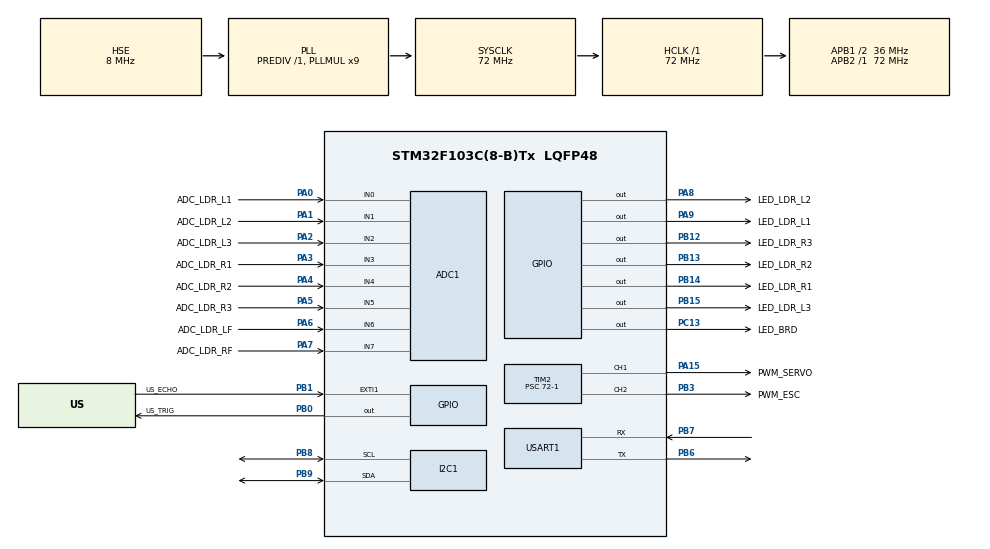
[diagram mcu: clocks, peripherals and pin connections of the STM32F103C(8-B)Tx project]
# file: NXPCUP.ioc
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ADC1.Channel-0\#ChannelRegularConversion=ADC_CHANNEL_0
ADC1.Channel-1\#ChannelRegularConversion=ADC_CHANNEL_1
ADC1.Channel-2\#ChannelRegularConversion=ADC_CHANNEL_2
ADC1.Channel-3\#ChannelRegularConversion=ADC_CHANNEL_3
ADC1.Channel-4\#ChannelRegularConversion=ADC_CHANNEL_4
ADC1.Channel-5\#ChannelRegularConversion=ADC_CHANNEL_5
ADC1.Channel-6\#ChannelRegularConversion=ADC_CHANNEL_6
ADC1.Channel-7\#ChannelRegularConversion=ADC_CHANNEL_7
ADC1.ContinuousConvMode=DISABLE
ADC1.NbrOfConversion=8
ADC1.NbrOfConversionFlag=1
ADC1.Rank-0\#ChannelRegularConversion=1
ADC1.Rank-1\#ChannelRegularConversion=2
ADC1.Rank-2\#ChannelRegularConversion=3
ADC1.Rank-3\#ChannelRegularConversion=4
ADC1.Rank-4\#ChannelRegularConversion=5
ADC1.Rank-5\#ChannelRegularConversion=6
ADC1.Rank-6\#ChannelRegularConversion=7
ADC1.Rank-7\#ChannelRegularConversion=8
ADC1.SamplingTime-0\#ChannelRegularConversion=ADC_SAMPLETIME_239CYCLES_5
ADC1.SamplingTime-1\#ChannelRegularConversion=ADC_SAMPLETIME_239CYCLES_5
ADC1.SamplingTime-2\#ChannelRegularConversion=ADC_SAMPLETIME_239CYCLES_5
ADC1.SamplingTime-3\#ChannelRegularConversion=ADC_SAMPLETIME_239CYCLES_5
ADC1.SamplingTime-4\#ChannelRegularConversion=ADC_SAMPLETIME_239CYCLES_5
ADC1.SamplingTime-5\#ChannelRegularConversion=ADC_SAMPLETIME_239CYCLES_5
ADC1.SamplingTime-6\#ChannelRegularConversion=ADC_SAMPLETIME_239CYCLES_5
ADC1.SamplingTime-7\#ChannelRegularConversion=ADC_SAMPLETIME_239CYCLES_5
ADC1.master=1
Dma.ADC1.0.Direction=DMA_PERIPH_TO_MEMORY
Dma.ADC1.0.Instance=DMA1_Channel1
Dma.ADC1.0.MemDataAlignment=DMA_MDATAALIGN_WORD
Dma.ADC1.0.MemInc=DMA_MINC_ENABLE
Dma.ADC1.0.Mode=DMA_NORMAL
Dma.ADC1.0.PeriphDataAlignment=DMA_PDATAALIGN_WORD
Dma.ADC1.0.PeriphInc=DMA_PINC_DISABLE
Dma.ADC1.0.Priority=DMA_PRIORITY_LOW
Dma.Request0=ADC1
Mcu.Family=STM32F1
Mcu.Name=STM32F103C(8-B)Tx
Mcu.Package=LQFP48
NVIC.ADC1_2_IRQn=true\:0\:0\:false\:false\:true\:true\:true\:true
NVIC.DMA1_Channel1_IRQn=true\:0\:0\:false\:false\:true\:false\:true\:true
NVIC.EXTI1_IRQn=true\:0\:0\:false\:false\:true\:true\:true\:true
NVIC.PriorityGroup=NVIC_PRIORITYGROUP_4
NVIC.TIM1_UP_IRQn=true\:0\:0\:false\:false\:true\:true\:true\:true
NVIC.TIM4_IRQn=true\:0\:0\:false\:false\:true\:true\:true\:true
PA0-WKUP.GPIO_Label=ADC_LDR_L1
PA0-WKUP.Signal=ADCx_IN0
PA1.GPIO_Label=ADC_LDR_L2
PA1.Signal=ADCx_IN1
PA13.Mode=Serial_Wire
PA13.Signal=SYS_JTMS-SWDIO
PA14.Mode=Serial_Wire
PA14.Signal=SYS_JTCK-SWCLK
PA15.GPIO_Label=PWM_SERVO
PA15.Signal=S_TIM2_CH1_ETR
PA2.GPIO_Label=ADC_LDR_L3
PA2.Signal=ADCx_IN2
PA3.GPIO_Label=ADC_LDR_R1
PA3.Signal=ADCx_IN3
PA4.GPIO_Label=ADC_LDR_R2
PA4.Signal=ADCx_IN4
PA5.GPIO_Label=ADC_LDR_R3
PA5.Signal=ADCx_IN5
PA6.GPIO_Label=ADC_LDR_LF
PA6.Signal=ADCx_IN6
PA7.GPIO_Label=ADC_LDR_RF
PA7.Signal=ADCx_IN7
PA8.GPIO_Label=LED_LDR_L2
PA8.Signal=GPIO_Output
PA9.GPIO_Label=LED_LDR_L1
PA9.Signal=GPIO_Output
PB0.GPIO_Label=US_TRIG
PB0.Signal=GPIO_Output
PB1.GPIO_Label=US_ECHO
PB1.GPIO_ModeDefaultEXTI=GPIO_MODE_IT_RISING_FALLING
PB1.Signal=GPXTI1
PB12.GPIO_Label=LED_LDR_R3
PB12.Signal=GPIO_Output
PB13.GPIO_Label=LED_LDR_R2
PB13.Signal=GPIO_Output
PB14.GPIO_Label=LED_LDR_R1
PB14.Signal=GPIO_Output
PB15.GPIO_Label=LED_LDR_L3
PB15.Signal=GPIO_Output
PB3.GPIO_Label=PWM_ESC
PB3.Signal=S_TIM2_CH2
PB6.Mode=Asynchronous
PB6.Signal=USART1_TX
PB7.Mode=Asynchronous
PB7.Signal=USART1_RX
PB8.Mode=I2C
PB8.Signal=I2C1_SCL
PB9.Mode=I2C
PB9.Signal=I2C1_SDA
PC13-TAMPER-RTC.GPIO_Label=LED_BRD
PC13-TAMPER-RTC.Signal=GPIO_Output
PD0-OSC_IN.Mode=HSE-External-Oscillator
PD0-OSC_IN.Signal=RCC_OSC_IN
PD1-OSC_OUT.Mode=HSE-External-Oscillator
PD1-OSC_OUT.Signal=RCC_OSC_OUT
ProjectManager.HeapSize=0x200
ProjectManager.StackSize=0x400
ProjectManager.TargetToolchain=STM32CubeIDE
RCC.ADCPresc=RCC_ADCPCLK2_DIV6
RCC.AHBFreq_Value=72000000
RCC.APB1CLKDivider=RCC_HCLK_DIV2
RCC.APB1Freq_Value=36000000
RCC.APB1TimFreq_Value=72000000
RCC.APB2Freq_Value=72000000
RCC.APB2TimFreq_Value=72000000
RCC.HCLKFreq_Value=72000000
RCC.PLLMUL=RCC_PLL_MUL9
RCC.PLLSourceVirtual=RCC_PLLSOURCE_HSE
RCC.SYSCLKFreq_VALUE=72000000
RCC.SYSCLKSource=RCC_SYSCLKSOURCE_PLLCLK
RCC.USBFreq_Value=72000000
SH.ADCx_IN0.0=ADC1_IN0,IN0
SH.ADCx_IN1.0=ADC1_IN1,IN1
SH.ADCx_IN2.0=ADC1_IN2,IN2
SH.ADCx_IN3.0=ADC1_IN3,IN3
SH.ADCx_IN4.0=ADC1_IN4,IN4
SH.ADCx_IN5.0=ADC1_IN5,IN5
SH.ADCx_IN6.0=ADC1_IN6,IN6
SH.ADCx_IN7.0=ADC1_IN7,IN7
SH.S_TIM2_CH1_ETR.0=TIM2_CH1,PWM Generation1 CH1
SH.S_TIM2_CH2.0=TIM2_CH2,PWM Generation2 CH2
TIM1.Period=100-1
TIM1.Prescaler=720-1
TIM2.Channel-PWM\ Generation1\ CH1=TIM_CHANNEL_1
TIM2.Channel-PWM\ Generation2\ CH2=TIM_CHANNEL_2
TIM2.Period=20000-1
TIM2.Prescaler=72-1
TIM3.Period=50000-1
TIM3.Prescaler=72-1
TIM4.Period=10-1
TIM4.Prescaler=72-1
USART1.VirtualMode=VM_ASYNC
VP_TIM1_VS_ClockSourceINT.Mode=Internal
VP_TIM2_VS_ClockSourceINT.Mode=Internal
VP_TIM3_VS_ClockSourceINT.Mode=Internal
VP_TIM4_VS_ClockSourceINT.Mode=Internal
board=custom

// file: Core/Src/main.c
/* USER CODE BEGIN Header */
/**
  ******************************************************************************
  * @file           : main.c
  * @brief          : Main program body
  ******************************************************************************
  * @attention
  *
  * Copyright (c) 2023 STMicroelectronics.
  * All rights reserved.
  *
  * This software is licensed under terms that can be found in the LICENSE file
  * in the root directory of this software component.
  * If no LICENSE file comes with this software, it is provided AS-IS.
  *
  ******************************************************************************
  */
/* USER CODE END Header */
#include "main.h"

/* USER CODE BEGIN Includes */
#include "stm32_utils.h"
#include "control.h"
#include "mathops.h"
/* USER CODE END Includes */

/* USER CODE BEGIN PD */
/*
 * CHANGE THESE VALUES FOR CONTROL OVER CARS OPERATION
 */
#define DISTANCE_SETPOINT 110	//distance car will stop infront of object in mm.
#define DISTANCE_RANGE 800 		//distance car will detect object in mm and initiate distance based speed control.
#define STEERING_SETPOINT -250	//alignment on track in arbitrary units, don't change if not needed. (+=left, -=right, 0=centre)
#define MAX_SPEED 150			//max speed on straight.
#define MIN_SPEED 100			//slower speed on turns.
#define HARSH_STEER 60
/*
 * PID GAINS - CHANGE IS NOT RECOMMENDED
 */
//DISTANCE SENSOR PID GAINS
#define P_GAIN_DISTANCE	3000
#define I_GAIN_DISTANCE	5
#define D_GAIN_DISTANCE	3000

//STEERING CONTROL PID GAINS
#define P_GAIN_STEERING	400
#define I_GAIN_STEERING	0
#define D_GAIN_STEERING	2800
/* USER CODE END PD */

ADC_HandleTypeDef hadc1;
DMA_HandleTypeDef hdma_adc1;

I2C_HandleTypeDef hi2c1;

TIM_HandleTypeDef htim1;
TIM_HandleTypeDef htim2;
TIM_HandleTypeDef htim3;
TIM_HandleTypeDef htim4;

UART_HandleTypeDef huart1;

/* USER CODE BEGIN PV */
uint32_t LDR_read[N_LDR_NODES];
PID_Handle hpid_distance;
PID_Handle hpid_steer;
uint8_t distance_override = False;
uint8_t ADC_Pause = False;
uint8_t done = False;
/* USER CODE END PV */

void SystemClock_Config(void);
static void MX_GPIO_Init(void);
static void MX_DMA_Init(void);
static void MX_ADC1_Init(void);
static void MX_TIM1_Init(void);
static void MX_TIM2_Init(void);
static void MX_TIM3_Init(void);
static void MX_TIM4_Init(void);
static void MX_I2C1_Init(void);
static void MX_USART1_UART_Init(void);

/* USER CODE BEGIN 0 */
void TaskScheduleHandler(){
SCHEDULE_HANDLE(SCH_CALIBRATION_CPLT)
	ScheduleTaskStop(SCH_LED_TOGGLE);
	ScheduleTask(SCH_LDR_CHECK, 20, True, 0);
}
SCHEDULE_HANDLE(SCH_LED_TOGGLE)
	HAL_GPIO_TogglePin(LED_BRD_GPIO_Port, LED_BRD_Pin);
}
SCHEDULE_HANDLE(SCH_LEDTOP)
	HAL_GPIO_WritePin(LED_LDR_L3_GPIO_Port, LED_LDR_L3_Pin, GPIO_PIN_SET);
	HAL_GPIO_WritePin(LED_LDR_R3_GPIO_Port, LED_LDR_R3_Pin, GPIO_PIN_SET);
	ScheduleTask(SCH_LEDMID, 200, 0, 0);
}
SCHEDULE_HANDLE(SCH_LEDMID)
	HAL_GPIO_WritePin(LED_LDR_L2_GPIO_Port, LED_LDR_L2_Pin, GPIO_PIN_SET);
	HAL_GPIO_WritePin(LED_LDR_R2_GPIO_Port, LED_LDR_R2_Pin, GPIO_PIN_SET);
	HAL_GPIO_WritePin(LED_LDR_L3_GPIO_Port, LED_LDR_L3_Pin, GPIO_PIN_RESET);
	HAL_GPIO_WritePin(LED_LDR_R3_GPIO_Port, LED_LDR_R3_Pin, GPIO_PIN_RESET);
	ScheduleTask(SCH_LEDBOT, 200, 0, 0);
}
SCHEDULE_HANDLE(SCH_LEDBOT)
	HAL_GPIO_WritePin(LED_LDR_L1_GPIO_Port, LED_LDR_L1_Pin, GPIO_PIN_SET);
	HAL_GPIO_WritePin(LED_LDR_R1_GPIO_Port, LED_LDR_R1_Pin, GPIO_PIN_SET);
	HAL_GPIO_WritePin(LED_LDR_L2_GPIO_Port, LED_LDR_L2_Pin, GPIO_PIN_RESET);
	HAL_GPIO_WritePin(LED_LDR_R2_GPIO_Port, LED_LDR_R2_Pin, GPIO_PIN_RESET);
	ScheduleTask(SCH_LEDOFF, 200, 0, 0);
}
SCHEDULE_HANDLE(SCH_LEDOFF)
	HAL_GPIO_WritePin(LED_LDR_L1_GPIO_Port, LED_LDR_L1_Pin, GPIO_PIN_RESET);
	HAL_GPIO_WritePin(LED_LDR_R1_GPIO_Port, LED_LDR_R1_Pin, GPIO_PIN_RESET);
}
SCHEDULE_HANDLE(SCH_LDR_CHECK)
	ADC_Pause = True;

//===STEERING CONTROL===
	int32_t left = (LDR_nodes[2].hrave.average);	//Left LDR adc reading, black is higher value.
	int32_t right = (LDR_nodes[5].hrave.average);	//Right LDR adc reading.
	int32_t position = (left-right);	//Difference between sides, 0 means even light so centre. <0 means right is darker. >0 meaning left is darker.
	int32_t pid = clamp(PID_Compute(&hpid_steer, position), -500, 500);	//Process position in PID controller. Clamped to min and max pwm values.
	MotorControls.steer = 500+pid;	//Set steering variable to mid point (500) + response from
	SetSteer(MotorControls.steer);
//======================

//===SPEED CONTROL===
	int32_t previous_speed = MotorControls.speed;	//Keep track of previous speed for later...
	MotorControls.speed = 500 + MAX_SPEED;			//Set new speed.
	if(distance_override==False){					//If no object in front...
		if(MotorControls.steer>(500+HARSH_STEER) || MotorControls.steer<(500-HARSH_STEER)){	//If steering harshly...
		  MotorControls.speed = clamp(MotorControls.speed, 0, 500+MIN_SPEED);	//Clamp speed to minimum.
		}else{													//Else steering softly...
		  MotorControls.speed = clamp(MotorControls.speed, 0, 1000);	//Clamp speed to absolute pwm maximum. Will never go above Max speed anyway.
		}

		/*
		 * If there is a change in direction, the ESC must pause briefly at 1.5ms pwm pule width before it will act on applying force
		 * in the other diretion or it will become unresponsive. The following code checks to see if there is a change in direction
		 * and if so, sets the speed to 1.5ms pwm pulse width and sets the desired speed after a delay of 5ms.
		 */
		if((previous_speed<500 && MotorControls.speed>500) || (previous_speed>500 && MotorControls.speed<500)){
		  SetSpeed(500);
		  ScheduleTask(SCH_SETSPEED, 5, False, 0);
		}else{
		  ScheduleTask(SCH_SETSPEED, 0, False, 0);
		}
	}
//===================

	//Reset all LDR averaging counts.
	for(int i = 0;i<N_LDR_NODES;i++){
		RUNTIME_AVERAGE_Reset(&LDR_nodes[i].hrave);
	}

	//Begin LDR readings again.
	ADC_Pause = False;
	HAL_ADC_Start_DMA(&hadc1,LDR_read,N_LDR_NODES);
}
SCHEDULE_HANDLE(SCH_SETSPEED)
	SetSpeed(MotorControls.speed);
}

SCHEDULE_HANDLE(SCH_PULSE)
HAL_GPIO_WritePin(US_TRIG_GPIO_Port, US_TRIG_Pin, GPIO_PIN_SET);
HAL_TIM_Base_Start_IT(&htim4);
}
}
/* USER CODE END 0 */

int main(void)
{

  /* MCU Configuration--------------------------------------------------------*/

  /* Reset of all peripherals, Initializes the Flash interface and the Systick. */
  HAL_Init();

  /* Configure the system clock */
  SystemClock_Config();

  /* Initialize all configured peripherals */
  MX_GPIO_Init();
  MX_DMA_Init();
  MX_ADC1_Init();
  MX_TIM1_Init();
  MX_TIM2_Init();
  MX_TIM3_Init();
  MX_TIM4_Init();
  MX_I2C1_Init();
  MX_USART1_UART_Init();
  /* USER CODE BEGIN 2 */
  HAL_TIM_Base_Start_IT(&SOFTCLK_TIMER_TYPE);
  HAL_TIM_PWM_Start(&htim2,TIM_CHANNEL_1);
  HAL_TIM_PWM_Start(&htim2,TIM_CHANNEL_2);

  ScheduleTask(SCH_LED_TOGGLE, 50, True, 0);
  ScheduleTask(SCH_CALIBRATION_CPLT, 1000, True, 0);

  PID_SetGain(&hpid_distance, P_GAIN_DISTANCE, I_GAIN_DISTANCE, D_GAIN_DISTANCE);
  PID_UpdateSetpoint(&hpid_distance, DISTANCE_SETPOINT);

  PID_SetGain(&hpid_steer, P_GAIN_STEERING, I_GAIN_STEERING, D_GAIN_STEERING);
  PID_UpdateSetpoint(&hpid_steer,STEERING_SETPOINT);

  SetSteer(500);	//>500 left, <500 right.
  SetSpeed(500);	//>500 forward, <500 reverse.

  HAL_Delay(3000);

  ScheduleTask(SCH_PULSE, 40, True, 0);	//Schedule recurring ultrasonic pulse every 40ms.
  HAL_ADC_Start_DMA(&hadc1,LDR_read,N_LDR_NODES);

  /* USER CODE END 2 */

  /* Infinite loop */
  while (1)
  {

    /* USER CODE BEGIN 3 */
	  TaskScheduleSoftClock();
	  TaskScheduleHandler();
  }
  /* USER CODE END 3 */
}

void SystemClock_Config(void)
{
  RCC_OscInitTypeDef RCC_OscInitStruct = {0};
  RCC_ClkInitTypeDef RCC_ClkInitStruct = {0};
  RCC_PeriphCLKInitTypeDef PeriphClkInit = {0};

  /** Initializes the RCC Oscillators according to the specified parameters
  * in the RCC_OscInitTypeDef structure.
  */
  RCC_OscInitStruct.OscillatorType = RCC_OSCILLATORTYPE_HSE;
  RCC_OscInitStruct.HSEState = RCC_HSE_ON;
  RCC_OscInitStruct.HSEPredivValue = RCC_HSE_PREDIV_DIV1;
  RCC_OscInitStruct.HSIState = RCC_HSI_ON;
  RCC_OscInitStruct.PLL.PLLState = RCC_PLL_ON;
  RCC_OscInitStruct.PLL.PLLSource = RCC_PLLSOURCE_HSE;
  RCC_OscInitStruct.PLL.PLLMUL = RCC_PLL_MUL9;
  if (HAL_RCC_OscConfig(&RCC_OscInitStruct) != HAL_OK)
  {
    Error_Handler();
  }

  /** Initializes the CPU, AHB and APB buses clocks
  */
  RCC_ClkInitStruct.ClockType = RCC_CLOCKTYPE_HCLK|RCC_CLOCKTYPE_SYSCLK
                              |RCC_CLOCKTYPE_PCLK1|RCC_CLOCKTYPE_PCLK2;
  RCC_ClkInitStruct.SYSCLKSource = RCC_SYSCLKSOURCE_PLLCLK;
  RCC_ClkInitStruct.AHBCLKDivider = RCC_SYSCLK_DIV1;
  RCC_ClkInitStruct.APB1CLKDivider = RCC_HCLK_DIV2;
  RCC_ClkInitStruct.APB2CLKDivider = RCC_HCLK_DIV1;

  if (HAL_RCC_ClockConfig(&RCC_ClkInitStruct, FLASH_LATENCY_2) != HAL_OK)
  {
    Error_Handler();
  }
  PeriphClkInit.PeriphClockSelection = RCC_PERIPHCLK_ADC;
  PeriphClkInit.AdcClockSelection = RCC_ADCPCLK2_DIV6;
  if (HAL_RCCEx_PeriphCLKConfig(&PeriphClkInit) != HAL_OK)
  {
    Error_Handler();
  }
}

static void MX_ADC1_Init(void)
{

  ADC_ChannelConfTypeDef sConfig = {0};

  /** Common config
  */
  hadc1.Instance = ADC1;
  hadc1.Init.ScanConvMode = ADC_SCAN_ENABLE;
  hadc1.Init.ContinuousConvMode = DISABLE;
  hadc1.Init.DiscontinuousConvMode = DISABLE;
  hadc1.Init.ExternalTrigConv = ADC_SOFTWARE_START;
  hadc1.Init.DataAlign = ADC_DATAALIGN_RIGHT;
  hadc1.Init.NbrOfConversion = 8;
  if (HAL_ADC_Init(&hadc1) != HAL_OK)
  {
    Error_Handler();
  }

  /** Configure Regular Channel
  */
  sConfig.Channel = ADC_CHANNEL_0;
  sConfig.Rank = ADC_REGULAR_RANK_1;
  sConfig.SamplingTime = ADC_SAMPLETIME_239CYCLES_5;
  if (HAL_ADC_ConfigChannel(&hadc1, &sConfig) != HAL_OK)
  {
    Error_Handler();
  }

  /** Configure Regular Channel
  */
  sConfig.Channel = ADC_CHANNEL_1;
  sConfig.Rank = ADC_REGULAR_RANK_2;
  if (HAL_ADC_ConfigChannel(&hadc1, &sConfig) != HAL_OK)
  {
    Error_Handler();
  }

  /** Configure Regular Channel
  */
  sConfig.Channel = ADC_CHANNEL_2;
  sConfig.Rank = ADC_REGULAR_RANK_3;
  if (HAL_ADC_ConfigChannel(&hadc1, &sConfig) != HAL_OK)
  {
    Error_Handler();
  }

  /** Configure Regular Channel
  */
  sConfig.Channel = ADC_CHANNEL_3;
  sConfig.Rank = ADC_REGULAR_RANK_4;
  if (HAL_ADC_ConfigChannel(&hadc1, &sConfig) != HAL_OK)
  {
    Error_Handler();
  }

  /** Configure Regular Channel
  */
  sConfig.Channel = ADC_CHANNEL_4;
  sConfig.Rank = ADC_REGULAR_RANK_5;
  if (HAL_ADC_ConfigChannel(&hadc1, &sConfig) != HAL_OK)
  {
    Error_Handler();
  }

  /** Configure Regular Channel
  */
  sConfig.Channel = ADC_CHANNEL_5;
  sConfig.Rank = ADC_REGULAR_RANK_6;
  if (HAL_ADC_ConfigChannel(&hadc1, &sConfig) != HAL_OK)
  {
    Error_Handler();
  }

  /** Configure Regular Channel
  */
  sConfig.Channel = ADC_CHANNEL_6;
  sConfig.Rank = ADC_REGULAR_RANK_7;
  if (HAL_ADC_ConfigChannel(&hadc1, &sConfig) != HAL_OK)
  {
    Error_Handler();
  }

  /** Configure Regular Channel
  */
  sConfig.Channel = ADC_CHANNEL_7;
  sConfig.Rank = ADC_REGULAR_RANK_8;
  if (HAL_ADC_ConfigChannel(&hadc1, &sConfig) != HAL_OK)
  {
    Error_Handler();
  }

}

static void MX_I2C1_Init(void)
{

  hi2c1.Instance = I2C1;
  hi2c1.Init.ClockSpeed = 100000;
  hi2c1.Init.DutyCycle = I2C_DUTYCYCLE_2;
  hi2c1.Init.OwnAddress1 = 0;
  hi2c1.Init.AddressingMode = I2C_ADDRESSINGMODE_7BIT;
  hi2c1.Init.DualAddressMode = I2C_DUALADDRESS_DISABLE;
  hi2c1.Init.OwnAddress2 = 0;
  hi2c1.Init.GeneralCallMode = I2C_GENERALCALL_DISABLE;
  hi2c1.Init.NoStretchMode = I2C_NOSTRETCH_DISABLE;
  if (HAL_I2C_Init(&hi2c1) != HAL_OK)
  {
    Error_Handler();
  }

}

static void MX_TIM1_Init(void)
{

  TIM_ClockConfigTypeDef sClockSourceConfig = {0};
  TIM_MasterConfigTypeDef sMasterConfig = {0};

  htim1.Instance = TIM1;
  htim1.Init.Prescaler = 720-1;
  htim1.Init.CounterMode = TIM_COUNTERMODE_UP;
  htim1.Init.Period = 100-1;
  htim1.Init.ClockDivision = TIM_CLOCKDIVISION_DIV1;
  htim1.Init.RepetitionCounter = 0;
  htim1.Init.AutoReloadPreload = TIM_AUTORELOAD_PRELOAD_DISABLE;
  if (HAL_TIM_Base_Init(&htim1) != HAL_OK)
  {
    Error_Handler();
  }
  sClockSourceConfig.ClockSource = TIM_CLOCKSOURCE_INTERNAL;
  if (HAL_TIM_ConfigClockSource(&htim1, &sClockSourceConfig) != HAL_OK)
  {
    Error_Handler();
  }
  sMasterConfig.MasterOutputTrigger = TIM_TRGO_RESET;
  sMasterConfig.MasterSlaveMode = TIM_MASTERSLAVEMODE_DISABLE;
  if (HAL_TIMEx_MasterConfigSynchronization(&htim1, &sMasterConfig) != HAL_OK)
  {
    Error_Handler();
  }

}

static void MX_TIM2_Init(void)
{

  TIM_ClockConfigTypeDef sClockSourceConfig = {0};
  TIM_MasterConfigTypeDef sMasterConfig = {0};
  TIM_OC_InitTypeDef sConfigOC = {0};

  htim2.Instance = TIM2;
  htim2.Init.Prescaler = 72-1;
  htim2.Init.CounterMode = TIM_COUNTERMODE_UP;
  htim2.Init.Period = 20000-1;
  htim2.Init.ClockDivision = TIM_CLOCKDIVISION_DIV1;
  htim2.Init.AutoReloadPreload = TIM_AUTORELOAD_PRELOAD_DISABLE;
  if (HAL_TIM_Base_Init(&htim2) != HAL_OK)
  {
    Error_Handler();
  }
  sClockSourceConfig.ClockSource = TIM_CLOCKSOURCE_INTERNAL;
  if (HAL_TIM_ConfigClockSource(&htim2, &sClockSourceConfig) != HAL_OK)
  {
    Error_Handler();
  }
  if (HAL_TIM_PWM_Init(&htim2) != HAL_OK)
  {
    Error_Handler();
  }
  sMasterConfig.MasterOutputTrigger = TIM_TRGO_RESET;
  sMasterConfig.MasterSlaveMode = TIM_MASTERSLAVEMODE_DISABLE;
  if (HAL_TIMEx_MasterConfigSynchronization(&htim2, &sMasterConfig) != HAL_OK)
  {
    Error_Handler();
  }
  sConfigOC.OCMode = TIM_OCMODE_PWM1;
  sConfigOC.Pulse = 0;
  sConfigOC.OCPolarity = TIM_OCPOLARITY_HIGH;
  sConfigOC.OCFastMode = TIM_OCFAST_DISABLE;
  if (HAL_TIM_PWM_ConfigChannel(&htim2, &sConfigOC, TIM_CHANNEL_1) != HAL_OK)
  {
    Error_Handler();
  }
  if (HAL_TIM_PWM_ConfigChannel(&htim2, &sConfigOC, TIM_CHANNEL_2) != HAL_OK)
  {
    Error_Handler();
  }
  HAL_TIM_MspPostInit(&htim2);

}

static void MX_TIM3_Init(void)
{

  TIM_ClockConfigTypeDef sClockSourceConfig = {0};
  TIM_MasterConfigTypeDef sMasterConfig = {0};

  htim3.Instance = TIM3;
  htim3.Init.Prescaler = 72-1;
  htim3.Init.CounterMode = TIM_COUNTERMODE_UP;
  htim3.Init.Period = 50000-1;
  htim3.Init.ClockDivision = TIM_CLOCKDIVISION_DIV1;
  htim3.Init.AutoReloadPreload = TIM_AUTORELOAD_PRELOAD_DISABLE;
  if (HAL_TIM_Base_Init(&htim3) != HAL_OK)
  {
    Error_Handler();
  }
  sClockSourceConfig.ClockSource = TIM_CLOCKSOURCE_INTERNAL;
  if (HAL_TIM_ConfigClockSource(&htim3, &sClockSourceConfig) != HAL_OK)
  {
    Error_Handler();
  }
  sMasterConfig.MasterOutputTrigger = TIM_TRGO_RESET;
  sMasterConfig.MasterSlaveMode = TIM_MASTERSLAVEMODE_DISABLE;
  if (HAL_TIMEx_MasterConfigSynchronization(&htim3, &sMasterConfig) != HAL_OK)
  {
    Error_Handler();
  }

}

static void MX_TIM4_Init(void)
{

  TIM_ClockConfigTypeDef sClockSourceConfig = {0};
  TIM_MasterConfigTypeDef sMasterConfig = {0};

  htim4.Instance = TIM4;
  htim4.Init.Prescaler = 72-1;
  htim4.Init.CounterMode = TIM_COUNTERMODE_UP;
  htim4.Init.Period = 10-1;
  htim4.Init.ClockDivision = TIM_CLOCKDIVISION_DIV1;
  htim4.Init.AutoReloadPreload = TIM_AUTORELOAD_PRELOAD_DISABLE;
  if (HAL_TIM_Base_Init(&htim4) != HAL_OK)
  {
    Error_Handler();
  }
  sClockSourceConfig.ClockSource = TIM_CLOCKSOURCE_INTERNAL;
  if (HAL_TIM_ConfigClockSource(&htim4, &sClockSourceConfig) != HAL_OK)
  {
    Error_Handler();
  }
  sMasterConfig.MasterOutputTrigger = TIM_TRGO_RESET;
  sMasterConfig.MasterSlaveMode = TIM_MASTERSLAVEMODE_DISABLE;
  if (HAL_TIMEx_MasterConfigSynchronization(&htim4, &sMasterConfig) != HAL_OK)
  {
    Error_Handler();
  }

}

static void MX_USART1_UART_Init(void)
{

  huart1.Instance = USART1;
  huart1.Init.BaudRate = 115200;
  huart1.Init.WordLength = UART_WORDLENGTH_8B;
  huart1.Init.StopBits = UART_STOPBITS_1;
  huart1.Init.Parity = UART_PARITY_NONE;
  huart1.Init.Mode = UART_MODE_TX_RX;
  huart1.Init.HwFlowCtl = UART_HWCONTROL_NONE;
  huart1.Init.OverSampling = UART_OVERSAMPLING_16;
  if (HAL_UART_Init(&huart1) != HAL_OK)
  {
    Error_Handler();
  }

}

static void MX_DMA_Init(void)
{

  /* DMA controller clock enable */
  __HAL_RCC_DMA1_CLK_ENABLE();

  /* DMA interrupt init */
  /* DMA1_Channel1_IRQn interrupt configuration */
  HAL_NVIC_SetPriority(DMA1_Channel1_IRQn, 0, 0);
  HAL_NVIC_EnableIRQ(DMA1_Channel1_IRQn);

}

static void MX_GPIO_Init(void)
{
  GPIO_InitTypeDef GPIO_InitStruct = {0};

  /* GPIO Ports Clock Enable */
  __HAL_RCC_GPIOC_CLK_ENABLE();
  __HAL_RCC_GPIOD_CLK_ENABLE();
  __HAL_RCC_GPIOA_CLK_ENABLE();
  __HAL_RCC_GPIOB_CLK_ENABLE();

  /*Configure GPIO pin Output Level */
  HAL_GPIO_WritePin(LED_BRD_GPIO_Port, LED_BRD_Pin, GPIO_PIN_RESET);

  /*Configure GPIO pin Output Level */
  HAL_GPIO_WritePin(GPIOB, US_TRIG_Pin|LED_LDR_R3_Pin|LED_LDR_R2_Pin|LED_LDR_R1_Pin
                          |LED_LDR_L3_Pin, GPIO_PIN_RESET);

  /*Configure GPIO pin Output Level */
  HAL_GPIO_WritePin(GPIOA, LED_LDR_L2_Pin|LED_LDR_L1_Pin, GPIO_PIN_RESET);

  /*Configure GPIO pin : LED_BRD_Pin */
  GPIO_InitStruct.Pin = LED_BRD_Pin;
  GPIO_InitStruct.Mode = GPIO_MODE_OUTPUT_PP;
  GPIO_InitStruct.Pull = GPIO_NOPULL;
  GPIO_InitStruct.Speed = GPIO_SPEED_FREQ_LOW;
  HAL_GPIO_Init(LED_BRD_GPIO_Port, &GPIO_InitStruct);

  /*Configure GPIO pins : US_TRIG_Pin LED_LDR_R3_Pin LED_LDR_R2_Pin LED_LDR_R1_Pin
                           LED_LDR_L3_Pin */
  GPIO_InitStruct.Pin = US_TRIG_Pin|LED_LDR_R3_Pin|LED_LDR_R2_Pin|LED_LDR_R1_Pin
                          |LED_LDR_L3_Pin;
  GPIO_InitStruct.Mode = GPIO_MODE_OUTPUT_PP;
  GPIO_InitStruct.Pull = GPIO_NOPULL;
  GPIO_InitStruct.Speed = GPIO_SPEED_FREQ_LOW;
  HAL_GPIO_Init(GPIOB, &GPIO_InitStruct);

  /*Configure GPIO pin : US_ECHO_Pin */
  GPIO_InitStruct.Pin = US_ECHO_Pin;
  GPIO_InitStruct.Mode = GPIO_MODE_IT_RISING_FALLING;
  GPIO_InitStruct.Pull = GPIO_NOPULL;
  HAL_GPIO_Init(US_ECHO_GPIO_Port, &GPIO_InitStruct);

  /*Configure GPIO pins : LED_LDR_L2_Pin LED_LDR_L1_Pin */
  GPIO_InitStruct.Pin = LED_LDR_L2_Pin|LED_LDR_L1_Pin;
  GPIO_InitStruct.Mode = GPIO_MODE_OUTPUT_PP;
  GPIO_InitStruct.Pull = GPIO_NOPULL;
  GPIO_InitStruct.Speed = GPIO_SPEED_FREQ_LOW;
  HAL_GPIO_Init(GPIOA, &GPIO_InitStruct);

  /* EXTI interrupt init*/
  HAL_NVIC_SetPriority(EXTI1_IRQn, 0, 0);
  HAL_NVIC_EnableIRQ(EXTI1_IRQn);

}

/* USER CODE BEGIN 4 */

void HAL_ADC_ConvCpltCallback(ADC_HandleTypeDef* hadc)
{
    // Read & Update The ADC Result
	for(int i = 0;i<N_LDR_NODES;i++){
		RUNTIME_AVERAGE_Update(&LDR_nodes[i].hrave, LDR_read[i]);
	}
	if(!ADC_Pause){
		HAL_ADC_Start_DMA(&hadc1,LDR_read,N_LDR_NODES);
	}
}

void HAL_TIM_PeriodElapsedCallback (TIM_HandleTypeDef * htim) {
	if (htim == &SOFTCLK_TIMER_TYPE) {
		TaskScheduleSoftClock_FlagSet();
	}else if(htim == &htim4){
		HAL_GPIO_WritePin(US_TRIG_GPIO_Port, US_TRIG_Pin, GPIO_PIN_RESET);
	}
}

void HAL_GPIO_EXTI_Callback(uint16_t GPIO_Pin)
{
// Function runs on state change of HC-SR04 Echo pin
switch(GPIO_Pin){
  case US_ECHO_Pin:
	  if(HAL_GPIO_ReadPin(US_ECHO_GPIO_Port, US_ECHO_Pin)==GPIO_PIN_SET){ //If echo goes high...
		  TIM3->CNT = 0; // Reset timer count.
		  HAL_TIM_Base_Start(&htim3); // Start echo tracking timer.
	  }else{ //If echo goes low...
		  uint32_t distance = (0.34f * TIM3->CNT)/2; //Calculate distance in mm.
		  if(TIM3->CNT>30000){ //If echo times out...
			  distance_override = False;	//Distance override disabled.
		  }else{
			  if((distance<DISTANCE_RANGE)&&(distance>15)){	//If distance within certain range...
				  if(distance_override==False){		//If distance override disabled...
					  distance_override = True;		//Enable distance override.
					  PID_Reset(&hpid_distance);	//Reset distance PID controller.
				  }
				  int32_t pid = PID_Compute_Distance(&hpid_distance, distance);	//Compute PID with new process variable.
				  uint32_t previous_speed = MotorControls.speed;		//Keep note of previous speed for later...
				  MotorControls.speed = 500-pid;						//Set speed variable with PID output.

				  if(MotorControls.steer>550 || MotorControls.steer<450){		//If steering harshly...
					  MotorControls.speed = clamp(MotorControls.speed, 0, 550);	//Clamp speed to slow.
				  }else{														//Else steering lightly...
					  MotorControls.speed = clamp(MotorControls.speed, 0, 650);	//Let speed go higher.
				  }
				  //If change in force applied to motor...
				  if((previous_speed<500 && MotorControls.speed>500) || (previous_speed>500 && MotorControls.speed<500)){
					  SetSpeed(500);	//Let car roll momentarily with no applied speed
					  ScheduleTask(SCH_SETSPEED, 5, False, 0);	//Set speed after 5ms delay.
				  }else{										//Else direction is the same.
					  ScheduleTask(SCH_SETSPEED, 0, False, 0);	//Set speed without delay.
				  }

				  if(done==False && MotorControls.speed>490 && MotorControls.speed<510){
					  done=True;
					  ScheduleTask(SCH_LEDTOP, 900, True, 0);
				  }
			  }
			  else {	//Else outside range...
				  distance_override = False;	//Distance override disabled.
			  }
		  }
		  HAL_TIM_Base_Stop(&htim3);	//Stop echo tracking timer.
	  }
	  break;
  }
}
/* USER CODE END 4 */

void Error_Handler(void)
{
  __disable_irq();
  while (1)
  {
  }
}
